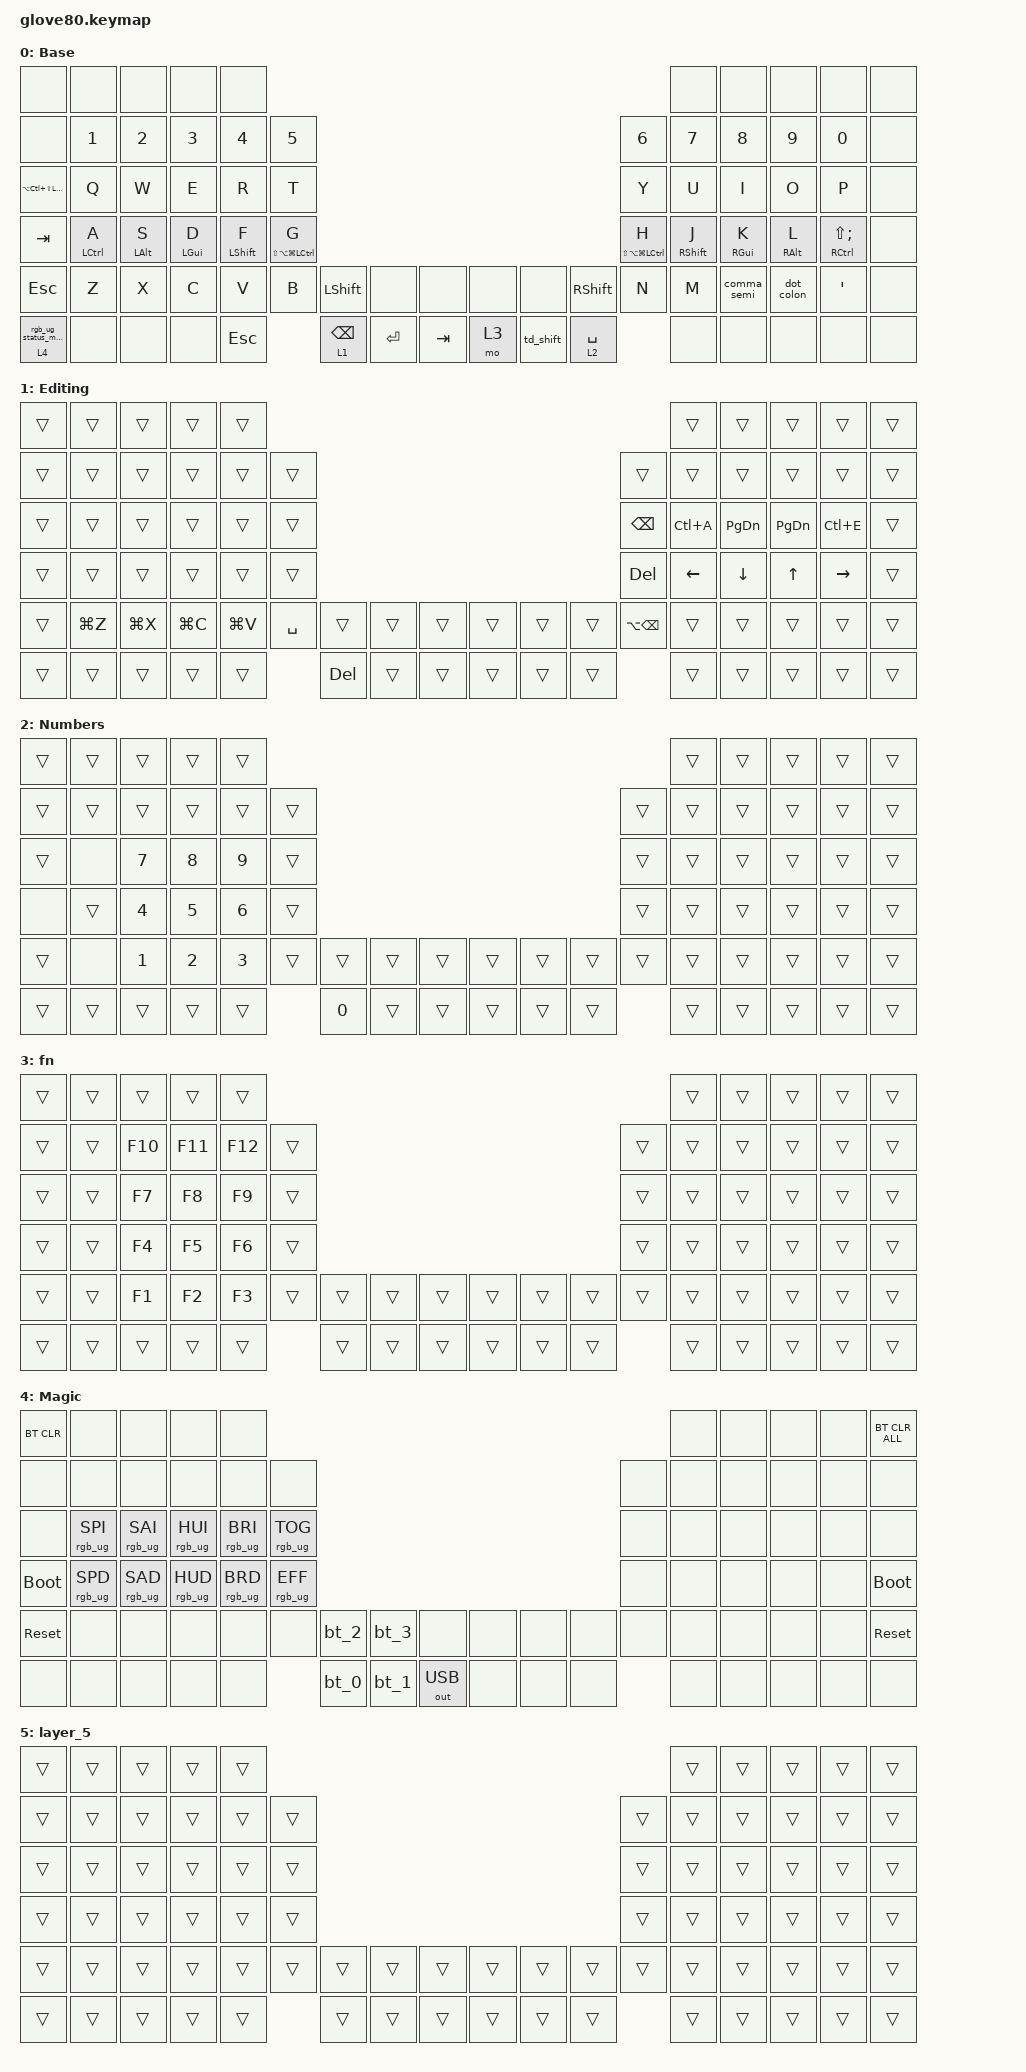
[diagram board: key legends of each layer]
/*
 * Copyright (c) 2020 The ZMK Contributors
 * Copyright (c) 2023 Innaworks Development Limited, trading as MoErgo
 *
 * SPDX-License-Identifier: MIT
 */
/* THIS FILE WAS GENERATED BY GLOVE80 LAYOUT EDITOR
 *
 * This file was generated automatically. You may or may not want to
 * edit it directly.
 */
/* Include all behaviour includes needed */

#include <behaviors.dtsi>
#include <dt-bindings/zmk/bt.h>
#include <dt-bindings/zmk/keys.h>
#include <dt-bindings/zmk/outputs.h>
#include <dt-bindings/zmk/rgb.h>

/ {
    /* Custom Device-tree */
    /* Glove80 system behavior & macros */

    behaviors {
        // For the "layer" key, it'd nice to be able to use it as either a shift or a toggle.
        // Configure it as a tap dance, so the first tap (or hold) is a &mo and the second tap is a &to

        lower: lower {
            compatible = "zmk,behavior-tap-dance";
            label = "LAYER_TAP_DANCE";
            #binding-cells = <0>;
            tapping-term-ms = <200>;
            bindings = <&mo 1>, <&to 1>;
        };
    };
};

/ {
    macros {
        rgb_ug_status_macro: rgb_ug_status_macro {
            label = "RGB_UG_STATUS";
            compatible = "zmk,behavior-macro";
            #binding-cells = <0>;
            bindings = <&rgb_ug RGB_STATUS>;
        };
    };
};

/ {
    #ifdef BT_DISC_CMD

    behaviors {
        bt_0: bt_0 {
            compatible = "zmk,behavior-tap-dance";
            label = "BT_0";
            #binding-cells = <0>;
            tapping-term-ms = <200>;
            bindings = <&bt_select_0>, <&bt BT_DISC 0>;
        };

        bt_1: bt_1 {
            compatible = "zmk,behavior-tap-dance";
            label = "BT_1";
            #binding-cells = <0>;
            tapping-term-ms = <200>;
            bindings = <&bt_select_1>, <&bt BT_DISC 1>;
        };

        bt_2: bt_2 {
            compatible = "zmk,behavior-tap-dance";
            label = "BT_2";
            #binding-cells = <0>;
            tapping-term-ms = <200>;
            bindings = <&bt_select_2>, <&bt BT_DISC 2>;
        };

        bt_3: bt_3 {
            compatible = "zmk,behavior-tap-dance";
            label = "BT_3";
            #binding-cells = <0>;
            tapping-term-ms = <200>;
            bindings = <&bt_select_3>, <&bt BT_DISC 3>;
        };
    };

    macros {
        bt_select_0: bt_select_0 {
            label = "BT_SELECT_0";
            compatible = "zmk,behavior-macro";
            #binding-cells = <0>;
            bindings = <&out OUT_BLE &bt BT_SEL 0>;
        };

        bt_select_1: bt_select_1 {
            label = "BT_SELECT_1";
            compatible = "zmk,behavior-macro";
            #binding-cells = <0>;
            bindings = <&out OUT_BLE &bt BT_SEL 1>;
        };

        bt_select_2: bt_select_2 {
            label = "BT_SELECT_2";
            compatible = "zmk,behavior-macro";
            #binding-cells = <0>;
            bindings = <&out OUT_BLE &bt BT_SEL 2>;
        };

        bt_select_3: bt_select_3 {
            label = "BT_SELECT_3";
            compatible = "zmk,behavior-macro";
            #binding-cells = <0>;
            bindings = <&out OUT_BLE &bt BT_SEL 3>;
        };
    };

    #else

    macros {
        bt_0: bt_0 {
            label = "BT_0";
            compatible = "zmk,behavior-macro";
            #binding-cells = <0>;
            bindings = <&out OUT_BLE &bt BT_SEL 0>;
        };

        bt_1: bt_1 {
            label = "BT_1";
            compatible = "zmk,behavior-macro";
            #binding-cells = <0>;
            bindings = <&out OUT_BLE &bt BT_SEL 1>;
        };

        bt_2: bt_2 {
            label = "BT_2";
            compatible = "zmk,behavior-macro";
            #binding-cells = <0>;
            bindings = <&out OUT_BLE &bt BT_SEL 2>;
        };

        bt_3: bt_3 {
            label = "BT_3";
            compatible = "zmk,behavior-macro";
            #binding-cells = <0>;
            bindings = <&out OUT_BLE &bt BT_SEL 3>;
        };
    };

    #endif
};

/ {
    behaviors {
        magic: magic {
            compatible = "zmk,behavior-hold-tap";
            label = "MAGIC_HOLD_TAP";
            #binding-cells = <2>;
            flavor = "tap-preferred";
            tapping-term-ms = <200>;
            bindings = <&mo>, <&rgb_ug_status_macro>;
        };ht_lt: ht_lt {
      compatible = "zmk,behavior-hold-tap";
    
         label = "HT_LT";
         bindings = <&mo>, <&kp>;
         #binding-cells = <2>;
         tapping-term-ms = <200>;
         flavor = "balanced";};td_shift: td_shift {
      compatible = "zmk,behavior-tap-dance";
    
         label = "TD_SHIFT";
         #binding-cells = <0>;
         bindings = <&kp LSHFT>, <&caps_word>;};comma_semi: comma_semi {
      compatible = "zmk,behavior-mod-morph";
    
         label = "COMMA_SEMI";
         bindings = <&kp COMMA>, <&kp SEMI>;
         #binding-cells = <0>;
         mods = <(MOD_LSFT|MOD_RSFT)>;};dot_colon: dot_colon {
      compatible = "zmk,behavior-mod-morph";
    
         label = "DOT_COLON";
         bindings = <&kp DOT>, <&kp COLON>;
         #binding-cells = <0>;
         mods = <(MOD_LSFT|MOD_RSFT)>;};question_excl: question_excl {
      compatible = "zmk,behavior-mod-morph";
    
         label = "QUESTION_EXCL";
         bindings = <&kp QUESTION>, <&kp EXCLAMATION>;
         #binding-cells = <0>;
         mods = <(MOD_LSFT|MOD_RSFT)>;};hml: hml {
      compatible = "zmk,behavior-hold-tap";
    
         label = "HML";
         bindings = <&kp>, <&kp>;
         #binding-cells = <2>;
         tapping-term-ms = <280>;
         quick-tap-ms = <176>;
         require-prior-idle-ms = <150>;
         flavor = "balanced";
         hold-trigger-on-release;
         hold-trigger-key-positions = <52 53 69 70 71 54 55 56 72 73 57 74 28 29 30 31 32 33 40 41 42 43 44 45 58 59 60 61 62 63 74 75 76 77 78 79 17 18 16 19 20 21 9 8 7 6 5>;};hmr: hmr {
      compatible = "zmk,behavior-hold-tap";
    
         label = "HMR";
         bindings = <&kp>, <&kp>;
         #binding-cells = <2>;
         tapping-term-ms = <280>;
         quick-tap-ms = <176>;
         require-prior-idle-ms = <150>;
         flavor = "balanced";
         hold-trigger-on-release;
         hold-trigger-key-positions = <0 1 2 3 4 10 11 12 13 14 15 22 23 24 25 26 27 34 35 36 37 38 39 46 47 48 49 50 51 52 53 54 55 56 57 64 65 66 67 68 69 70 71 72 73 74>;};
    };
};


/* Custom Defined Behaviors */

/ {
};

/* Automatically generated keymap */

/ {
    
      combos {
        compatible = "zmk,combos";at {
         bindings = <&kp AT_SIGN>;
         key-positions = <24 36>;
         timeout-ms = <30>;
         require-prior-idle-ms = <50>;};backtick {
         bindings = <&kp GRAVE>;
         key-positions = <36 48>;
         timeout-ms = <30>;
         require-prior-idle-ms = <50>;};hash {
         bindings = <&kp HASH>;
         key-positions = <25 37>;
         timeout-ms = <30>;
         require-prior-idle-ms = <50>;};backslash {
         bindings = <&kp BACKSLASH>;
         key-positions = <37 49>;
         timeout-ms = <30>;
         require-prior-idle-ms = <50>;};dollar {
         bindings = <&kp DOLLAR>;
         key-positions = <26 38>;};equals {
         bindings = <&kp EQUAL>;
         key-positions = <50 38>;};percent {
         bindings = <&kp PERCENT>;
         key-positions = <27 39>;};tilde {
         bindings = <&kp TILDE>;
         key-positions = <51 39>;};caret {
         bindings = <&kp CARET>;
         key-positions = <28 40>;};underscore {
         bindings = <&kp UNDERSCORE>;
         key-positions = <58 40>;};plus {
         bindings = <&kp PLUS>;
         key-positions = <29 41>;};minus {
         bindings = <&kp MINUS>;
         key-positions = <59 41>;};star {
         bindings = <&kp ASTERISK>;
         key-positions = <30 42>;};slash {
         bindings = <&kp SLASH>;
         key-positions = <60 42>;};ampersand {
         bindings = <&kp AMPERSAND>;
         key-positions = <31 43>;};pipe {
         bindings = <&kp PIPE>;
        key-positions = <43 61>;};left_bracket {
         bindings = <&kp LPAR>;
         key-positions = <42 41>;};right_bracket {
         bindings = <&kp RIGHT_PARENTHESIS>;
         key-positions = <43 42>;};lessthan {
         bindings = <&kp LESS_THAN>;
         key-positions = <36 37>;
         timeout-ms = <18>;
         require-prior-idle-ms = <150>;};greaterthan {
         bindings = <&kp GREATER_THAN>;
         key-positions = <37 38>;
         timeout-ms = <18>;
         require-prior-idle-ms = <150>;};lef_brace {
         bindings = <&kp LEFT_BRACE>;
         key-positions = <59 60>;};right_brace {
         bindings = <&kp RIGHT_BRACE>;
         key-positions = <60 61>;};left_sq {
         bindings = <&kp LEFT_BRACKET>;
         key-positions = <49 48>;};right_sq {
         bindings = <&kp RIGHT_BRACKET>;
         key-positions = <50 49>;};};
    
keymap {
        compatible = "zmk,keymap";


        Base {
         bindings = <
&none                 &none         &none        &none        &none                                                                                                                                    &none         &none        &none        &none                     &none
&none                 &kp NUMBER_1  &kp N2       &kp N3       &kp N4        &kp N5                                                                                           &kp N6                    &kp N7        &kp N8       &kp N9       &kp N0                    &none
&kp LA(LC(LS(LGUI)))  &kp Q         &kp W        &kp E        &kp R         &kp T                                                                                            &kp Y                     &kp U         &kp I        &kp O        &kp P                     &none
&kp TAB               &hml LCTRL A  &hml LALT S  &hml LGUI D  &hml LSHFT F  &hml LS(LA(LG(LCTRL))) G                                                                         &hmr LS(LA(LG(LCTRL))) H  &hmr RSHFT J  &hmr RGUI K  &hmr RALT L  &hmr RCTRL LS(SEMICOLON)  &none
&kp ESCAPE            &kp Z         &kp X        &kp C        &kp V         &kp B                     &kp LSHFT      &none      &none      &none  &none      &kp RSHFT       &kp N                     &kp M         &comma_semi  &dot_colon   &kp SQT                   &none
&magic 4 0            &none         &none        &none        &kp ESCAPE                              &ht_lt 1 BSPC  &kp ENTER  &kp TAB    &mo 3  &td_shift  &ht_lt 2 SPACE                            &none         &none        &none        &none                     &none
>;};
Editing {
         bindings = <
&trans  &trans     &trans     &trans     &trans                                                                                      &trans     &trans         &trans         &trans     &trans
&trans  &trans     &trans     &trans     &trans     &trans                                                        &trans             &trans     &trans         &trans         &trans     &trans
&trans  &trans     &trans     &trans     &trans     &trans                                                        &kp BSPC           &kp LC(A)  &kp PAGE_DOWN  &kp PAGE_DOWN  &kp LC(E)  &trans
&trans  &trans     &trans     &trans     &trans     &trans                                                        &kp DELETE         &kp LEFT   &kp DOWN       &kp UP         &kp RIGHT  &trans
&trans  &kp LG(Z)  &kp LG(X)  &kp LG(C)  &kp LG(V)  &kp SPACE  &trans   &trans  &trans    &trans  &trans  &trans  &kp LA(BACKSPACE)  &trans     &trans         &trans         &trans     &trans
&trans  &trans     &trans     &trans     &trans                &kp DEL  &trans  &trans    &trans  &trans  &trans                     &trans     &trans         &trans         &trans     &trans
>;};
Numbers {
         bindings = <
&trans  &trans  &trans  &trans  &trans                                                                    &trans  &trans  &trans  &trans  &trans
&trans  &trans  &trans  &trans  &trans  &trans                                                    &trans  &trans  &trans  &trans  &trans  &trans
&trans  &none   &kp N7  &kp N8  &kp N9  &trans                                                    &trans  &trans  &trans  &trans  &trans  &trans
&none   &trans  &kp N4  &kp N5  &kp N6  &trans                                                    &trans  &trans  &trans  &trans  &trans  &trans
&trans  &none   &kp N1  &kp N2  &kp N3  &trans  &trans  &trans  &trans    &trans  &trans  &trans  &trans  &trans  &trans  &trans  &trans  &trans
&trans  &trans  &trans  &trans  &trans          &kp N0  &trans  &trans    &trans  &trans  &trans          &trans  &trans  &trans  &trans  &trans
>;};
fn {
         bindings = <
&trans  &trans  &trans   &trans   &trans                                                                     &trans  &trans  &trans  &trans  &trans
&trans  &trans  &kp F10  &kp F11  &kp F12  &trans                                                    &trans  &trans  &trans  &trans  &trans  &trans
&trans  &trans  &kp F7   &kp F8   &kp F9   &trans                                                    &trans  &trans  &trans  &trans  &trans  &trans
&trans  &trans  &kp F4   &kp F5   &kp F6   &trans                                                    &trans  &trans  &trans  &trans  &trans  &trans
&trans  &trans  &kp F1   &kp F2   &kp F3   &trans  &trans  &trans  &trans    &trans  &trans  &trans  &trans  &trans  &trans  &trans  &trans  &trans
&trans  &trans  &trans   &trans   &trans           &trans  &trans  &trans    &trans  &trans  &trans          &trans  &trans  &trans  &trans  &trans
>;};
Magic {
            bindings = <
&bt BT_CLR   &none            &none            &none            &none                                                                                       &none  &none  &none  &none  &bt BT_CLR_ALL
&none        &none            &none            &none            &none            &none                                                               &none  &none  &none  &none  &none  &none
&none        &rgb_ug RGB_SPI  &rgb_ug RGB_SAI  &rgb_ug RGB_HUI  &rgb_ug RGB_BRI  &rgb_ug RGB_TOG                                                     &none  &none  &none  &none  &none  &none
&bootloader  &rgb_ug RGB_SPD  &rgb_ug RGB_SAD  &rgb_ug RGB_HUD  &rgb_ug RGB_BRD  &rgb_ug RGB_EFF                                                     &none  &none  &none  &none  &none  &bootloader
&sys_reset   &none            &none            &none            &none            &none            &bt_2  &bt_3  &none           &none  &none  &none  &none  &none  &none  &none  &none  &sys_reset
&none        &none            &none            &none            &none                             &bt_0  &bt_1  &out OUT_USB    &none  &none  &none         &none  &none  &none  &none  &none
>;
        };layer_5 {
         bindings = <
&trans  &trans  &trans  &trans  &trans                                                                    &trans  &trans  &trans  &trans  &trans
&trans  &trans  &trans  &trans  &trans  &trans                                                    &trans  &trans  &trans  &trans  &trans  &trans
&trans  &trans  &trans  &trans  &trans  &trans                                                    &trans  &trans  &trans  &trans  &trans  &trans
&trans  &trans  &trans  &trans  &trans  &trans                                                    &trans  &trans  &trans  &trans  &trans  &trans
&trans  &trans  &trans  &trans  &trans  &trans  &trans  &trans  &trans    &trans  &trans  &trans  &trans  &trans  &trans  &trans  &trans  &trans
&trans  &trans  &trans  &trans  &trans          &trans  &trans  &trans    &trans  &trans  &trans          &trans  &trans  &trans  &trans  &trans
>;};
    };
};
